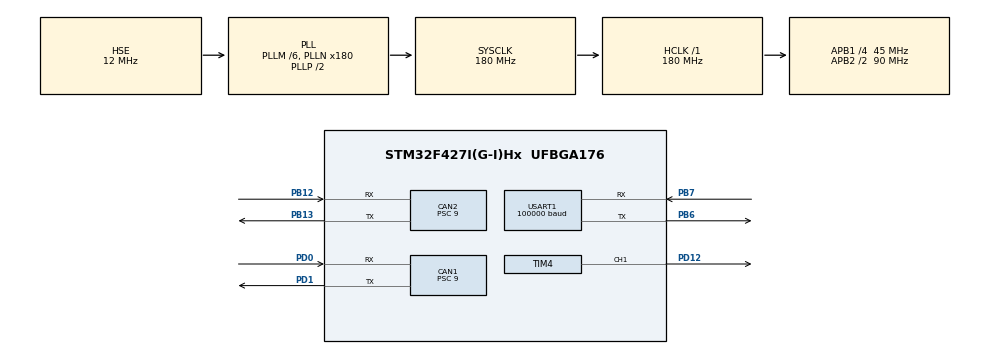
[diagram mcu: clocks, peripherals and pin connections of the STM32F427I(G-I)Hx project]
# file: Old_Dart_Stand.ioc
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CAN1.ABOM=ENABLE
CAN1.BS1=CAN_BS1_2TQ
CAN1.BS2=CAN_BS2_2TQ
CAN1.CalculateBaudRate=1000000
CAN1.CalculateTimeBit=1000
CAN1.CalculateTimeQuantum=200.0
CAN1.NART=ENABLE
CAN1.Prescaler=9
CAN2.ABOM=ENABLE
CAN2.BS1=CAN_BS1_2TQ
CAN2.BS2=CAN_BS2_2TQ
CAN2.CalculateBaudRate=1000000
CAN2.CalculateTimeBit=1000
CAN2.CalculateTimeQuantum=200.0
CAN2.NART=ENABLE
CAN2.Prescaler=9
Dma.Request0=USART1_RX
Dma.USART1_RX.0.Direction=DMA_PERIPH_TO_MEMORY
Dma.USART1_RX.0.FIFOMode=DMA_FIFOMODE_DISABLE
Dma.USART1_RX.0.Instance=DMA2_Stream2
Dma.USART1_RX.0.MemDataAlignment=DMA_MDATAALIGN_BYTE
Dma.USART1_RX.0.MemInc=DMA_MINC_ENABLE
Dma.USART1_RX.0.Mode=DMA_NORMAL
Dma.USART1_RX.0.PeriphDataAlignment=DMA_PDATAALIGN_BYTE
Dma.USART1_RX.0.PeriphInc=DMA_PINC_DISABLE
Dma.USART1_RX.0.Priority=DMA_PRIORITY_LOW
FREERTOS.Tasks01=defaultTask,24,128,StartDefaultTask,Default,NULL,Dynamic,NULL,NULL;DM_Motor_Task,24,128,DM_Motor_TaskStart,As weak,NULL,Dynamic,NULL,NULL;BJ_Task,24,128,Start_BJ_Task,As weak,NULL,Dynamic,NULL,NULL;Motor_return_t0,25,128,Start_Motor_return_t0,As weak,NULL,Dynamic,NULL,NULL
Mcu.Family=STM32F4
Mcu.Name=STM32F427I(G-I)Hx
Mcu.Package=UFBGA176
NVIC.CAN1_RX0_IRQn=true\:5\:0\:false\:false\:true\:true\:true\:true\:true
NVIC.CAN1_RX1_IRQn=true\:5\:0\:false\:false\:true\:true\:true\:true\:true
NVIC.CAN2_RX0_IRQn=true\:5\:0\:false\:false\:true\:true\:true\:true\:true
NVIC.CAN2_RX1_IRQn=true\:5\:0\:false\:false\:true\:true\:true\:true\:true
NVIC.DMA2_Stream2_IRQn=true\:5\:0\:false\:false\:true\:true\:false\:true\:true
NVIC.PriorityGroup=NVIC_PRIORITYGROUP_4
NVIC.TIM8_TRG_COM_TIM14_IRQn=true\:15\:0\:true\:false\:true\:false\:false\:true\:true
NVIC.TimeBase=TIM8_TRG_COM_TIM14_IRQn
NVIC.TimeBaseIP=TIM14
NVIC.USART1_IRQn=true\:5\:0\:false\:false\:true\:true\:true\:true\:true
PA13.Mode=Serial_Wire
PA13.Signal=SYS_JTMS-SWDIO
PA14.Mode=Serial_Wire
PA14.Signal=SYS_JTCK-SWCLK
PB12.Mode=CAN_Activate
PB12.Signal=CAN2_RX
PB13.Mode=CAN_Activate
PB13.Signal=CAN2_TX
PB6.Mode=Asynchronous
PB6.Signal=USART1_TX
PB7.Mode=Asynchronous
PB7.Signal=USART1_RX
PD0.Mode=CAN_Activate
PD0.Signal=CAN1_RX
PD1.Mode=CAN_Activate
PD1.Signal=CAN1_TX
PD12.Signal=S_TIM4_CH1
PH0/OSC_IN.Mode=HSE-External-Oscillator
PH0/OSC_IN.Signal=RCC_OSC_IN
PH1/OSC_OUT.Mode=HSE-External-Oscillator
PH1/OSC_OUT.Signal=RCC_OSC_OUT
ProjectManager.HeapSize=0x200
ProjectManager.StackSize=0x400
ProjectManager.TargetToolchain=CMake
RCC.48MHZClocksFreq_Value=90000000
RCC.AHBFreq_Value=180000000
RCC.APB1CLKDivider=RCC_HCLK_DIV4
RCC.APB1Freq_Value=45000000
RCC.APB1TimFreq_Value=90000000
RCC.APB2CLKDivider=RCC_HCLK_DIV2
RCC.APB2Freq_Value=90000000
RCC.APB2TimFreq_Value=180000000
RCC.CortexFreq_Value=180000000
RCC.HCLKFreq_Value=180000000
RCC.HSE_VALUE=12000000
RCC.HSI_VALUE=16000000
RCC.LSE_VALUE=32768
RCC.PLLM=6
RCC.PLLN=180
RCC.PLLSourceVirtual=RCC_PLLSOURCE_HSE
RCC.SYSCLKFreq_VALUE=180000000
RCC.SYSCLKSource=RCC_SYSCLKSOURCE_PLLCLK
RCC.VCOOutputFreq_Value=360000000
SH.S_TIM4_CH1.0=TIM4_CH1,PWM Generation1 CH1
TIM4.AutoReloadPreload=TIM_AUTORELOAD_PRELOAD_ENABLE
TIM4.Channel-PWM\ Generation1\ CH1=TIM_CHANNEL_1
TIM4.Period=20000-1
TIM4.Prescaler=180-1
USART1.BaudRate=100000
USART1.Parity=PARITY_EVEN
USART1.VirtualMode=VM_ASYNC
USART1.WordLength=WORDLENGTH_9B
VP_FREERTOS_VS_CMSIS_V2.Mode=CMSIS_V2
VP_SYS_VS_tim14.Mode=TIM14
VP_TIM4_VS_ClockSourceINT.Mode=Internal
board=custom

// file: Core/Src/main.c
/* USER CODE BEGIN Header */
/**
  ******************************************************************************
  * @file           : main.c
  * @brief          : Main program body
  ******************************************************************************
  * @attention
  *
  * Copyright (c) 2026 STMicroelectronics.
  * All rights reserved.
  *
  * This software is licensed under terms that can be found in the LICENSE file
  * in the root directory of this software component.
  * If no LICENSE file comes with this software, it is provided AS-IS.
  *
  ******************************************************************************
  */
/* USER CODE END Header */
#include "main.h"
#include "cmsis_os.h"
#include "can.h"
#include "dma.h"
#include "tim.h"
#include "usart.h"
#include "gpio.h"

/* USER CODE BEGIN Includes */
#include"DM_Motor.h"
#include"drv_can.h"
#include"RC_remoto_control.h"
#include"X_V2.h"
/* USER CODE END Includes */

/* USER CODE BEGIN PV */
//遥控器的全局变量(以后优化)
int flag=2;//达妙电机标志位,默认上电不动
RC_Ctl_t RC_CtrlData;
//uint8_t RxData[2][18]={0};//接收遥控器数据的数组，双
uint8_t RxData[18]={0};//接收遥控器数据的数,单缓冲区
int flag_one_step =0;//此为全局变量
uint32_t t0=0;
uint8_t s2_last = 0;
uint8_t s1_last = 0;

/* USER CODE END PV */

void SystemClock_Config(void);
void MX_FREERTOS_Init(void);

/* USER CODE BEGIN 0 */
void RemoteDataProcess(uint8_t *pData)//解析数据
{
  if(pData == NULL)
  {
    return;
  }

  RC_CtrlData.rc.ch0 = ((int16_t)pData[0] | ((int16_t)pData[1] << 8)) & 0x07FF;
  RC_CtrlData.rc.ch1 = (((int16_t)pData[1] >> 3) | ((int16_t)pData[2] << 5))
& 0x07FF;
  RC_CtrlData.rc.ch2 = (((int16_t)pData[2] >> 6) | ((int16_t)pData[3] << 2) |
                       ((int16_t)pData[4] << 10)) & 0x07FF;
  RC_CtrlData.rc.ch3 = (((int16_t)pData[4] >> 1) | ((int16_t)pData[5]<<7)) &
0x07FF;

  RC_CtrlData.rc.s1 = ((pData[5] >> 4) & 0x000C) >> 2;
  RC_CtrlData.rc.s2 = ((pData[5] >> 4) & 0x0003);

  RC_CtrlData.mouse.x = ((int16_t)pData[6]) | ((int16_t)pData[7] << 8);
  RC_CtrlData.mouse.y = ((int16_t)pData[8]) | ((int16_t)pData[9] << 8);
  RC_CtrlData.mouse.z = ((int16_t)pData[10]) | ((int16_t)pData[11] << 8);

  RC_CtrlData.mouse.press_l = pData[12];
  RC_CtrlData.mouse.press_r = pData[13];

  RC_CtrlData.key.v = ((int16_t)pData[14]);// | ((int16_t)pData[15] << 8); ;//上拨最小，下拨最大
  RC_CtrlData.rc.dial = pData[16] | (pData[17] << 8);//上拨最小，下拨最大
  //your control code ….
  if (RC_CtrlData.rc.ch3>1024)//向上拨摇杆，
  {
    flag=1;
  }
  else if (RC_CtrlData.rc.ch3<1024)//向下拨摇杆
  {
    flag=0;
  }
  else
  {
    //do nothing
  }
}
//重写串口空闲中断
void HAL_UARTEx_RxEventCallback(UART_HandleTypeDef *huart, uint16_t Size)
{
  if(huart==&huart1)
  {
    uint8_t*pData=RxData;
    if (Size==18)//判断是否接收的是完整的数据据
    {
      RemoteDataProcess(pData);
    }
    HAL_UARTEx_ReceiveToIdle_DMA(&huart1, RxData, 18);//持续接收数据
    __HAL_DMA_DISABLE_IT(&hdma_usart1_rx,DMA_IT_HT);
  }
  //优化为双缓冲区
   // if (huart == &huart1)
   // {
   //   static uint8_t idx = 0;// 记录"刚刚收完"的是哪块缓冲
   //   uint8_t *done = RxData[idx];     // 刚收满的一帧
   //
   //   idx ^= 1;                        // 切到另一块(0<->1)
   //
   //   HAL_UARTEx_ReceiveToIdle_DMA(&huart1, RxData[idx], 18); // 先武装,让 DMA 去填另一块
   //   __HAL_DMA_DISABLE_IT(&hdma_usart1_rx,DMA_IT_HT);
   //
   //   // 现在解析上一帧,此时 DMA 正在写另一块 → 真正并行,不会互相覆盖
   //   if (Size==18)
   //   {
   //     RemoteDataProcess(done);
   //   }
   // }
}
/* USER CODE END 0 */

int main(void)
{

  /* MCU Configuration--------------------------------------------------------*/

  /* Reset of all peripherals, Initializes the Flash interface and the Systick. */
  HAL_Init();

  /* Configure the system clock */
  SystemClock_Config();

  /* Initialize all configured peripherals */
  MX_GPIO_Init();
  MX_DMA_Init();
  MX_CAN1_Init();
  MX_CAN2_Init();
  MX_TIM4_Init();
  MX_USART1_UART_Init();
  /* USER CODE BEGIN 2 */
  HAL_TIM_PWM_Start(&htim4, TIM_CHANNEL_1);//扳机舵机开启
  __HAL_TIM_SetCompare(&htim4, TIM_CHANNEL_1,780.0f);//初始未上膛
  HAL_UARTEx_ReceiveToIdle_DMA(&huart1, RxData, 18);//开启串口
  __HAL_DMA_DISABLE_IT(&hdma_usart1_rx,DMA_IT_HT);
  CAN_Init(&hcan2,User_CANCallback);//初始化CN2 使用达妙电机
  CAN_Filter_Mask_Config(&hcan2,CAN_FILTER(16)|CAN_FIFO_1|CAN_STDID|CAN_DATA_TYPE,0x01,0x00);//配置滤波器
  USER_CAN1_Filter_Init();																	// 初始化CAN滤波器
  if(HAL_CAN_Start(&hcan1) != HAL_OK) { Error_Handler(); }	// 启动CAN控制器
  if(HAL_CAN_ActivateNotification(&hcan1, CAN_IT_RX_FIFO0_MSG_PENDING) != HAL_OK) { Error_Handler(); }	// 使能CAN控制器接收中断
  HAL_Delay(500);//上电500ms等初始化完成
  //X_V2_Reset_CurPos_To_Zero(8);//上电 设置步进电机的当前位置为0点
  /* USER CODE END 2 */

  /* Init scheduler */
  osKernelInitialize();  /* Call init function for freertos objects (in cmsis_os2.c) */
  MX_FREERTOS_Init();

  /* Start scheduler */
  osKernelStart();

  /* We should never get here as control is now taken by the scheduler */

  /* Infinite loop */
  while (1)
  {

  }
}

void SystemClock_Config(void)
{
  RCC_OscInitTypeDef RCC_OscInitStruct = {0};
  RCC_ClkInitTypeDef RCC_ClkInitStruct = {0};

  /** Configure the main internal regulator output voltage
  */
  __HAL_RCC_PWR_CLK_ENABLE();
  __HAL_PWR_VOLTAGESCALING_CONFIG(PWR_REGULATOR_VOLTAGE_SCALE1);

  /** Initializes the RCC Oscillators according to the specified parameters
  * in the RCC_OscInitTypeDef structure.
  */
  RCC_OscInitStruct.OscillatorType = RCC_OSCILLATORTYPE_HSE;
  RCC_OscInitStruct.HSEState = RCC_HSE_ON;
  RCC_OscInitStruct.PLL.PLLState = RCC_PLL_ON;
  RCC_OscInitStruct.PLL.PLLSource = RCC_PLLSOURCE_HSE;
  RCC_OscInitStruct.PLL.PLLM = 6;
  RCC_OscInitStruct.PLL.PLLN = 180;
  RCC_OscInitStruct.PLL.PLLP = RCC_PLLP_DIV2;
  RCC_OscInitStruct.PLL.PLLQ = 4;
  if (HAL_RCC_OscConfig(&RCC_OscInitStruct) != HAL_OK)
  {
    Error_Handler();
  }

  /** Activate the Over-Drive mode
  */
  if (HAL_PWREx_EnableOverDrive() != HAL_OK)
  {
    Error_Handler();
  }

  /** Initializes the CPU, AHB and APB buses clocks
  */
  RCC_ClkInitStruct.ClockType = RCC_CLOCKTYPE_HCLK|RCC_CLOCKTYPE_SYSCLK
                              |RCC_CLOCKTYPE_PCLK1|RCC_CLOCKTYPE_PCLK2;
  RCC_ClkInitStruct.SYSCLKSource = RCC_SYSCLKSOURCE_PLLCLK;
  RCC_ClkInitStruct.AHBCLKDivider = RCC_SYSCLK_DIV1;
  RCC_ClkInitStruct.APB1CLKDivider = RCC_HCLK_DIV4;
  RCC_ClkInitStruct.APB2CLKDivider = RCC_HCLK_DIV2;

  if (HAL_RCC_ClockConfig(&RCC_ClkInitStruct, FLASH_LATENCY_5) != HAL_OK)
  {
    Error_Handler();
  }
}

void HAL_TIM_PeriodElapsedCallback(TIM_HandleTypeDef *htim)
{
  if (htim->Instance == TIM14)
  {
    HAL_IncTick();
  }
}

void Error_Handler(void)
{
  __disable_irq();
  while (1)
  {
  }
}

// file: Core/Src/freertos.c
/* USER CODE BEGIN Header */
/**
  ******************************************************************************
  * File Name          : freertos.c
  * Description        : Code for freertos applications
  ******************************************************************************
  * @attention
  *
  * Copyright (c) 2026 STMicroelectronics.
  * All rights reserved.
  *
  * This software is licensed under terms that can be found in the LICENSE file
  * in the root directory of this software component.
  * If no LICENSE file comes with this software, it is provided AS-IS.
  *
  ******************************************************************************
  */
/* USER CODE END Header */

#include "FreeRTOS.h"
#include "task.h"
#include "main.h"
#include "cmsis_os.h"

/* Definitions for defaultTask */
osThreadId_t defaultTaskHandle;
const osThreadAttr_t defaultTask_attributes = {
  .name = "defaultTask",
  .stack_size = 128 * 4,
  .priority = (osPriority_t) osPriorityNormal,
};
/* Definitions for DM_Motor_Task */
osThreadId_t DM_Motor_TaskHandle;
const osThreadAttr_t DM_Motor_Task_attributes = {
  .name = "DM_Motor_Task",
  .stack_size = 128 * 4,
  .priority = (osPriority_t) osPriorityNormal,
};
/* Definitions for BJ_Task */
osThreadId_t BJ_TaskHandle;
const osThreadAttr_t BJ_Task_attributes = {
  .name = "BJ_Task",
  .stack_size = 128 * 4,
  .priority = (osPriority_t) osPriorityNormal,
};
/* Definitions for Motor_return_t0 */
osThreadId_t Motor_return_t0Handle;
const osThreadAttr_t Motor_return_t0_attributes = {
  .name = "Motor_return_t0",
  .stack_size = 128 * 4,
  .priority = (osPriority_t) osPriorityNormal1,
};

void StartDefaultTask(void *argument);
void DM_Motor_TaskStart(void *argument);
void Start_BJ_Task(void *argument);
void Start_Motor_return_t0(void *argument);

void MX_FREERTOS_Init(void); /* (MISRA C 2004 rule 8.1) */

void MX_FREERTOS_Init(void) {

  /* Create the thread(s) */
  /* creation of defaultTask */
  defaultTaskHandle = osThreadNew(StartDefaultTask, NULL, &defaultTask_attributes);

  /* creation of DM_Motor_Task */
  DM_Motor_TaskHandle = osThreadNew(DM_Motor_TaskStart, NULL, &DM_Motor_Task_attributes);

  /* creation of BJ_Task */
  BJ_TaskHandle = osThreadNew(Start_BJ_Task, NULL, &BJ_Task_attributes);

  /* creation of Motor_return_t0 */
  Motor_return_t0Handle = osThreadNew(Start_Motor_return_t0, NULL, &Motor_return_t0_attributes);

}

void StartDefaultTask(void *argument)
{
  for(;;)
  {
    osDelay(1);
  }
}

__weak void DM_Motor_TaskStart(void *argument)
{
  for(;;)
  {
    osDelay(1);
  }
}

__weak void Start_BJ_Task(void *argument)
{
  for(;;)
  {
    osDelay(1);
  }
}

__weak void Start_Motor_return_t0(void *argument)
{
  for(;;)
  {
    osDelay(1);
  }
}
